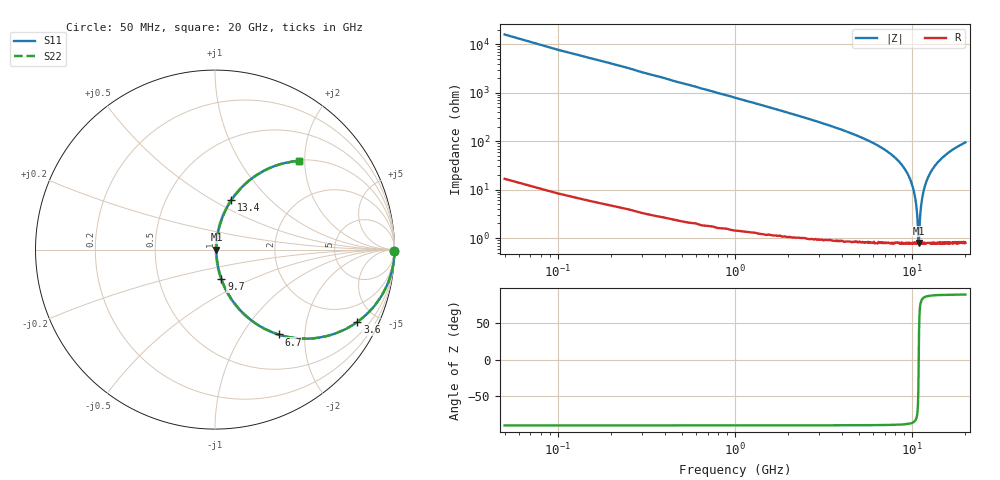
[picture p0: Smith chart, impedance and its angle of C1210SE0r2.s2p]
! AVX Thin Film Operation		Date: April 2012
! Description: Accu-P® Series, Thin Film, SMD, RF Capacitor
! Part Number: 12101J0R2PBTTR
!	100	MHz	-	20.05	GHz
!	Serial	Measurements
#	MHZ	S	MA	R	50
!	S11	S21	S12	S22
!	dB	Phase	dB	Phase	dB	Phase	dB	Phase
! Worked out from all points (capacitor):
!   400 points, 50 MHz to 20 GHz, reference 50 ohm
!   read as one part in series: C = 199 fF near 150 MHz
!   lowest |Z| = 794 mohm at 10.9 GHz (marker M1)
!   series resonance near 10.9 GHz, so ESL is about 1.1 nH
!   S11 on the Smith chart (normalised r, x): 50 MHz: open; 3.6 GHz: 1.02, -3.94; 6.7 GHz: 1.02, -1.48; 9.7 GHz: 1.02, -0.34; 13.4 GHz: 1.02, +0.61; 20 GHz: 1.02, +1.88
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50  1 -0.4  0.006283 89.6  0.006283 89.6  1 -0.4
100  1 -0.7  0.013 89.2  0.013 89.2  1 -0.7
150  1 -1.1  0.019 88.9  0.019 88.9  1 -1.1
300  0.999 -2.2  0.038 87.8  0.038 87.8  0.999 -2.2
800  0.995 -5.8  0.101 84.1  0.101 84.1  0.995 -5.8
1850  0.972 -13.5  0.233 76.4  0.233 76.4  0.972 -13.5
3400  0.902 -25.3  0.427 64.5  0.427 64.5  0.902 -25.3
3600  0.89 -26.9  0.452 62.9  0.452 62.9  0.89 -26.9
6700  0.591 -53.1  0.8 36.2  0.8 36.2  0.591 -53.1
8400  0.357 -67.9  0.927 20.9  0.927 20.9  0.357 -67.9
9700  0.167 -77.8  0.978 9.6  0.978 9.6  0.167 -77.8
10050  0.117 -79.5  0.985 6.7  0.985 6.7  0.117 -79.5
10600  0.041 -76.8  0.991 2.3  0.991 2.3  0.041 -76.8
10700  0.028 -72.3  0.992 1.5  0.992 1.5  0.028 -72.3
10900  0.007749 0.4  0.992 -0.0  0.992 -0.0  0.007749 0.4
11150  0.034 74.9  0.992 -1.9  0.992 -1.9  0.034 74.9
11550  0.084 79.9  0.989 -4.8  0.989 -4.8  0.084 79.9
12200  0.162 78.0  0.979 -9.3  0.979 -9.3  0.162 78.0
13350  0.284 72.0  0.951 -16.5  0.951 -16.5  0.284 72.0
13400  0.289 71.8  0.95 -16.8  0.95 -16.8  0.289 71.8
16700  0.537 56.8  0.837 -32.5  0.837 -32.5  0.537 56.8
20000  0.683 46.5  0.725 -43.1  0.725 -43.1  0.683 46.5
